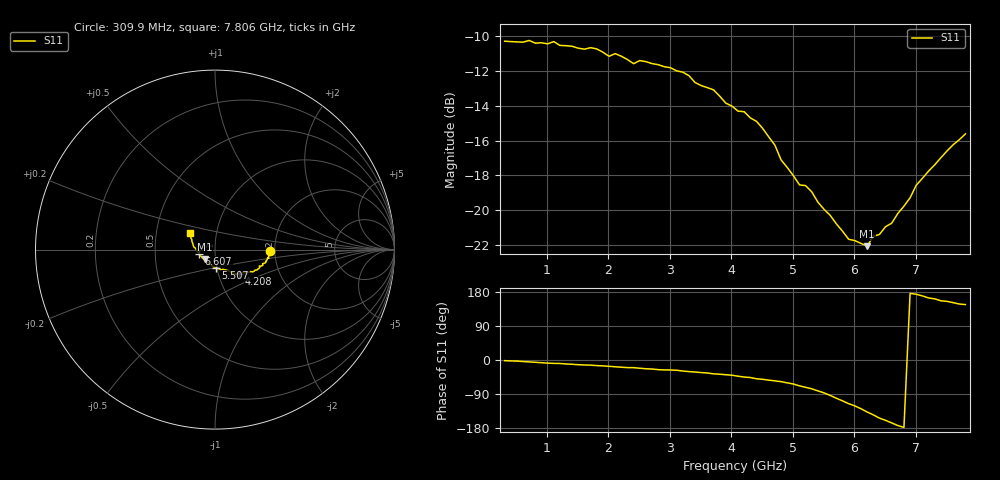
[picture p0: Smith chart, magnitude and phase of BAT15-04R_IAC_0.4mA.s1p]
! Infineon Technologies  Discrete & RF Semiconductors
! BAT15-04R
! IAC = 0.4 mA
! One-Port S-Parameters
# Hz  S  MA  R  50
!f  S11
!Hz  Mag  Ang
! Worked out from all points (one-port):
!   76 points, 309.9 MHz to 7.806 GHz, reference 50 ohm
!   lowest |S11| = -22.1 dB at 6.207 GHz (marker M1), VSWR 1.17, Z = 44.3 - j4.78 ohm
!   |S11| at or under -10 dB: start of sweep to end of sweep
!   S11 on the Smith chart (normalised r, x): 309.9 MHz: 1.88, -0.04; 4.208 GHz: 1.26, -0.35; 5.507 GHz: 0.99, -0.20; 6.607 GHz: 0.84, -0.04; 7.806 GHz: 0.75, +0.14
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3.0985e8  0.3051 -1.8
1.10945e9  0.3043 -9.0
1.30935e9  0.2962 -10.5
1.70915e9  0.2924 -13.6
2.2089e9  0.2763 -19.0
2.4088e9  0.2631 -20.2
2.50875e9  0.2685 -21.7
3.2084e9  0.2488 -29.1
3.4083e9  0.2324 -31.7
3.70815e9  0.2214 -36.5
4.10795e9  0.1923 -42.7
4.2079e9  0.1916 -44.9
4.50775e9  0.1717 -51.0
4.70765e9  0.1536 -55.0
4.8076e9  0.1395 -57.2
5.0075e9  0.1257 -63.5
5.10745e9  0.1183 -68.2
5.2074e9  0.1177 -72.1
5.30735e9  0.1129 -76.1
5.50725e9  0.1007 -86.8
5.90705e9  0.08263 -115.2
6.007e9  0.08191 -121.1
6.2069e9  0.07895 -137.2
6.30685e9  0.08429 -144.7
6.6067e9  0.09187 -165.9
6.90655e9  0.1086 176.0
7.0065e9  0.118 173.4
7.8061e9  0.1656 146.2
